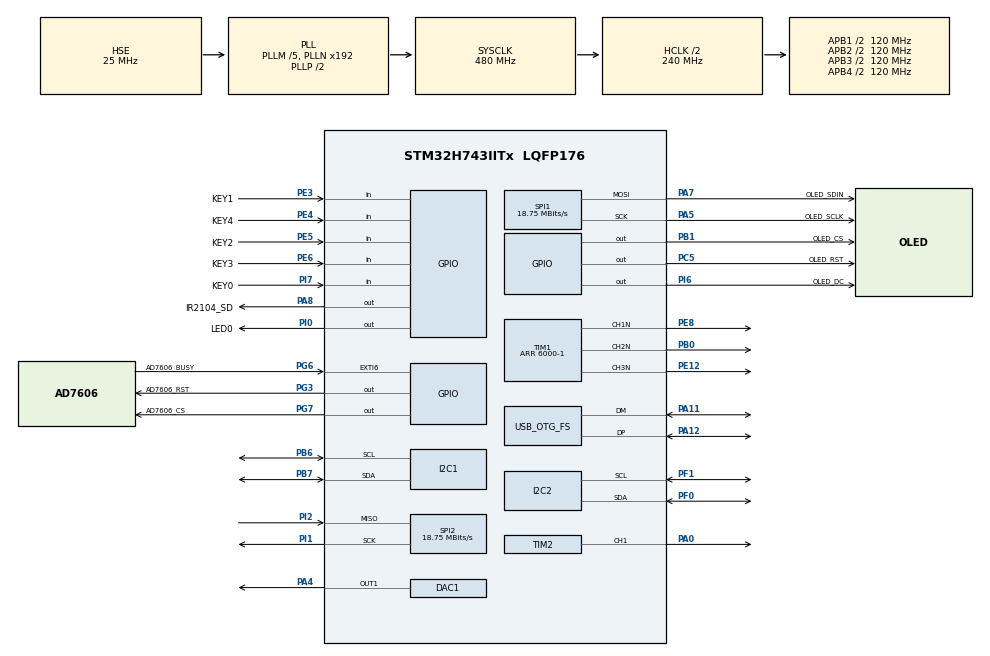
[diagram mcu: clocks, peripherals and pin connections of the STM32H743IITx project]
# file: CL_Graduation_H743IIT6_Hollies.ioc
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ADC3.Channel-0\#ChannelRegularConversion=ADC_CHANNEL_TEMPSENSOR
ADC3.ClockPrescalerADC3=ADC_CLOCK_ASYNC_DIV4
ADC3.NbrOfConversion=1
ADC3.NbrOfConversionFlag=1
ADC3.OffsetNumber-0\#ChannelRegularConversion=ADC_OFFSET_NONE
ADC3.OffsetSignedSaturation-0\#ChannelRegularConversion=DISABLE
ADC3.Overrun=ADC_OVR_DATA_OVERWRITTEN
ADC3.OversamplingMode=ENABLE
ADC3.Rank-0\#ChannelRegularConversion=1
ADC3.Ratio=16
ADC3.RightBitShift=ADC_RIGHTBITSHIFT_4
ADC3.SamplingTime-0\#ChannelRegularConversion=ADC_SAMPLETIME_810CYCLES_5
CORTEX_M7.AccessPermission_Spec=MPU_REGION_FULL_ACCESS
CORTEX_M7.BaseAddress_Spec=0x24000000
CORTEX_M7.CPU_DCache=Enabled
CORTEX_M7.CPU_ICache=Enabled
CORTEX_M7.DisableExec_Spec=MPU_INSTRUCTION_ACCESS_ENABLE
CORTEX_M7.IsBufferable_Spec=MPU_ACCESS_BUFFERABLE
CORTEX_M7.IsCacheable_Spec=MPU_ACCESS_CACHEABLE
CORTEX_M7.IsShareable_Spec=MPU_ACCESS_NOT_SHAREABLE
CORTEX_M7.Size_Spec=MPU_REGION_SIZE_512KB
CORTEX_M7.SubRegionDisable_Spec=0x0
CORTEX_M7.TypeExtField_Spec=MPU_TEX_LEVEL1
CORTEX_M7.default_mode_Activation=1
DAC1.DAC_Channel-DAC_OUT1=DAC_CHANNEL_1
FREERTOS.Tasks01=defaultTask,24,128,StartDefaultTask,As weak,NULL,Dynamic,NULL,NULL;letterShellTask,23,1024,shellTask,As weak,&shell,Dynamic,NULL,NULL;chipTemperature,24,512,StartChipTemperatureTask,As weak,NULL,Dynamic,NULL,NULL;oledDisplayTask,24,512,StartOledDisplayTask,As weak,NULL,Dynamic,NULL,NULL;keyTask,24,256,StartKeyTask,As weak,NULL,Dynamic,NULL,NULL;dcSampingTask,40,256,StartDCSampingTask,As weak,NULL,Dynamic,NULL,NULL
I2C1.Timing=0x307075B1
I2C2.Timing=0x307075B1
Mcu.Family=STM32H7
Mcu.Name=STM32H743IITx
Mcu.Package=LQFP176
NVIC.EXTI9_5_IRQn=true\:4\:0\:true\:false\:true\:false\:true\:true\:true
NVIC.OTG_FS_IRQn=true\:5\:0\:false\:false\:true\:true\:false\:true\:true
NVIC.PriorityGroup=NVIC_PRIORITYGROUP_4
NVIC.TIM6_DAC_IRQn=true\:5\:0\:false\:false\:true\:false\:false\:true\:true
NVIC.TimeBase=TIM6_DAC_IRQn
NVIC.TimeBaseIP=TIM6
PA0.Signal=S_TIM2_CH1_ETR
PA11.Mode=Device_Only
PA11.Signal=USB_OTG_FS_DM
PA12.Mode=Device_Only
PA12.Signal=USB_OTG_FS_DP
PA13\ (JTMS/SWDIO).Mode=Serial_Wire
PA13\ (JTMS/SWDIO).Signal=DEBUG_JTMS-SWDIO
PA14\ (JTCK/SWCLK).Mode=Serial_Wire
PA14\ (JTCK/SWCLK).Signal=DEBUG_JTCK-SWCLK
PA4.Signal=COMP_DAC11_group
PA5.GPIO_Label=OLED_SCLK
PA5.GPIO_PuPd=GPIO_PULLUP
PA5.GPIO_Speed=GPIO_SPEED_FREQ_MEDIUM
PA5.Mode=TX_Only_Simplex_Unidirect_Master
PA5.Signal=SPI1_SCK
PA7.GPIO_Label=OLED_SDIN
PA7.GPIO_PuPd=GPIO_PULLUP
PA7.GPIO_Speed=GPIO_SPEED_FREQ_MEDIUM
PA7.Mode=TX_Only_Simplex_Unidirect_Master
PA7.Signal=SPI1_MOSI
PA8.GPIO_Label=IR2104_SD
PA8.GPIO_PuPd=GPIO_PULLDOWN
PA8.GPIO_Speed=GPIO_SPEED_FREQ_LOW
PA8.PinState=GPIO_PIN_RESET
PA8.Signal=GPIO_Output
PB0.Mode=PWM Generation2 CH2N
PB0.Signal=TIM1_CH2N
PB1.GPIO_Label=OLED_CS
PB1.GPIO_PuPd=GPIO_PULLUP
PB1.GPIO_Speed=GPIO_SPEED_FREQ_LOW
PB1.Signal=GPIO_Output
PB6.Mode=I2C
PB6.Signal=I2C1_SCL
PB7.Mode=I2C
PB7.Signal=I2C1_SDA
PC14-OSC32_IN\ (OSC32_IN).Mode=LSE-External-Oscillator
PC14-OSC32_IN\ (OSC32_IN).Signal=RCC_OSC32_IN
PC15-OSC32_OUT\ (OSC32_OUT).Mode=LSE-External-Oscillator
PC15-OSC32_OUT\ (OSC32_OUT).Signal=RCC_OSC32_OUT
PC5.GPIO_Label=OLED_RST
PC5.GPIO_PuPd=GPIO_PULLUP
PC5.GPIO_Speed=GPIO_SPEED_FREQ_LOW
PC5.Signal=GPIO_Output
PE12.Mode=PWM Generation3 CH3N
PE12.Signal=TIM1_CH3N
PE3.GPIO_Label=KEY1
PE3.GPIO_PuPd=GPIO_PULLUP
PE3.Signal=GPIO_Input
PE4.GPIO_Label=KEY4
PE4.GPIO_PuPd=GPIO_PULLUP
PE4.Signal=GPIO_Input
PE5.GPIO_Label=KEY2
PE5.GPIO_PuPd=GPIO_PULLUP
PE5.Signal=GPIO_Input
PE6.GPIO_Label=KEY3
PE6.GPIO_PuPd=GPIO_PULLUP
PE6.Signal=GPIO_Input
PE8.Mode=PWM Generation1 CH1N
PE8.Signal=TIM1_CH1N
PF0.Mode=I2C
PF0.Signal=I2C2_SDA
PF1.Mode=I2C
PF1.Signal=I2C2_SCL
PG3.GPIO_Label=AD7606_RST
PG3.GPIO_Speed=GPIO_SPEED_FREQ_LOW
PG3.Signal=GPIO_Output
PG6.GPIO_Label=AD7606_BUSY
PG6.GPIO_ModeDefaultEXTI=GPIO_MODE_IT_FALLING
PG6.GPIO_PuPd=GPIO_PULLUP
PG6.Signal=GPXTI6
PG7.GPIO_Label=AD7606_CS
PG7.Signal=GPIO_Output
PH0-OSC_IN\ (PH0).Mode=HSE-External-Oscillator
PH0-OSC_IN\ (PH0).Signal=RCC_OSC_IN
PH1-OSC_OUT\ (PH1).Mode=HSE-External-Oscillator
PH1-OSC_OUT\ (PH1).Signal=RCC_OSC_OUT
PI0.GPIO_Label=LED0
PI0.Signal=GPIO_Output
PI1.GPIO_Speed=GPIO_SPEED_FREQ_MEDIUM
PI1.Mode=RX_Only_Simplex_Unidirect_Master
PI1.Signal=SPI2_SCK
PI2.GPIO_Speed=GPIO_SPEED_FREQ_MEDIUM
PI2.Mode=RX_Only_Simplex_Unidirect_Master
PI2.Signal=SPI2_MISO
PI6.GPIO_Label=OLED_DC
PI6.GPIO_PuPd=GPIO_PULLUP
PI6.GPIO_Speed=GPIO_SPEED_FREQ_LOW
PI6.Signal=GPIO_Output
PI7.GPIO_Label=KEY0
PI7.GPIO_PuPd=GPIO_PULLUP
PI7.Signal=GPIO_Input
ProjectManager.HeapSize=0x2000
ProjectManager.StackSize=0x4000
ProjectManager.TargetToolchain=CMake
RCC.ADCFreq_Value=72000000
RCC.APB1Freq_Value=120000000
RCC.APB2Freq_Value=120000000
RCC.APB3Freq_Value=120000000
RCC.APB4Freq_Value=120000000
RCC.CortexFreq_Value=480000000
RCC.D1PPRE=RCC_APB3_DIV2
RCC.D2PPRE1=RCC_APB1_DIV2
RCC.D2PPRE2=RCC_APB2_DIV2
RCC.D3PPRE=RCC_APB4_DIV2
RCC.DIVM1=5
RCC.DIVM2=25
RCC.DIVM3=25
RCC.DIVN1=192
RCC.DIVN2=504
RCC.DIVN3=300
RCC.DIVP2=7
RCC.DIVQ1=20
RCC.HCLKFreq_Value=240000000
RCC.HPRE=RCC_HCLK_DIV2
RCC.PLLFRACN=0
RCC.PLLSourceVirtual=RCC_PLLSOURCE_HSE
RCC.SPI123CLockSelection=RCC_SPI123CLKSOURCE_PLL3
RCC.SYSCLKFreq_VALUE=480000000
RCC.SYSCLKSource=RCC_SYSCLKSOURCE_PLLCLK
RCC.USBFreq_Value=48000000
SH.COMP_DAC11_group.0=DAC1_OUT1,DAC_OUT1
SH.S_TIM2_CH1_ETR.0=TIM2_CH1,PWM Generation1 CH1
SPI1.BaudRatePrescaler=SPI_BAUDRATEPRESCALER_8
SPI1.CalculateBaudRate=18.75 MBits/s
SPI1.DataSize=SPI_DATASIZE_8BIT
SPI1.Direction=SPI_DIRECTION_2LINES_TXONLY
SPI1.Mode=SPI_MODE_MASTER
SPI1.VirtualType=VM_MASTER
SPI2.BaudRatePrescaler=SPI_BAUDRATEPRESCALER_8
SPI2.CLKPolarity=SPI_POLARITY_HIGH
SPI2.CalculateBaudRate=18.75 MBits/s
SPI2.DataSize=SPI_DATASIZE_16BIT
SPI2.Direction=SPI_DIRECTION_2LINES_RXONLY
SPI2.Mode=SPI_MODE_MASTER
SPI2.VirtualType=VM_MASTER
TIM1.Channel-PWM\ Generation1\ CH1N=TIM_CHANNEL_1
TIM1.Channel-PWM\ Generation2\ CH2N=TIM_CHANNEL_2
TIM1.Channel-PWM\ Generation3\ CH3N=TIM_CHANNEL_3
TIM1.CounterMode=TIM_COUNTERMODE_CENTERALIGNED1
TIM1.OCFastMode_PWM-PWM\ Generation1\ CH1N=TIM_OCFAST_ENABLE
TIM1.OCFastMode_PWM-PWM\ Generation2\ CH2N=TIM_OCFAST_ENABLE
TIM1.OCFastMode_PWM-PWM\ Generation3\ CH3N=TIM_OCFAST_ENABLE
TIM1.Period=6000-1
TIM1.Pulse-PWM\ Generation2\ CH2N=3000-1
TIM1.Pulse-PWM\ Generation3\ CH3N=3000-1
TIM2.Channel-PWM\ Generation1\ CH1=TIM_CHANNEL_1
TIM2.Period=12000-1
TIM2.Pulse-PWM\ Generation1\ CH1=9000-1
USB_DEVICE.CLASS_NAME_FS=CDC
USB_DEVICE.PRODUCT_STRING_CDC_FS=TianSHU A
USB_DEVICE.VirtualMode-CDC_FS=Cdc
USB_DEVICE.VirtualModeFS=Cdc_FS
USB_OTG_FS.VirtualMode=Device_Only
VP_ADC3_TempSens_Input.Mode=IN-TempSens
VP_FREERTOS_VS_CMSIS_V2.Mode=CMSIS_V2
VP_MEMORYMAP_VS_MEMORYMAP.Mode=CurAppReg
VP_SYS_VS_tim6.Mode=TIM6
VP_TIM1_VS_ClockSourceINT.Mode=Internal
VP_TIM2_VS_ClockSourceINT.Mode=Internal
VP_USB_DEVICE_VS_USB_DEVICE_CDC_FS.Mode=CDC_FS
VP_VREFBUF_V_VREFBUF.Mode=ExternalMode
board=custom

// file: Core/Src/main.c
/* USER CODE BEGIN Header */
/**
 ******************************************************************************
 * @file           : main.c
 * @brief          : Main program body
 ******************************************************************************
 * @attention
 *
 * Copyright (c) 2025 STMicroelectronics.
 * All rights reserved.
 *
 * This software is licensed under terms that can be found in the LICENSE file
 * in the root directory of this software component.
 * If no LICENSE file comes with this software, it is provided AS-IS.
 *
 ******************************************************************************
 */
/* USER CODE END Header */
#include "main.h"
#include "cmsis_os.h"
#include "adc.h"
#include "dac.h"
#include "i2c.h"
#include "memorymap.h"
#include "spi.h"
#include "tim.h"
#include "usb_device.h"
#include "gpio.h"

void SystemClock_Config(void);
void PeriphCommonClock_Config(void);
static void MPU_Config(void);
void MX_FREERTOS_Init(void);

int main(void)
{

  /* MPU Configuration--------------------------------------------------------*/
  MPU_Config();

  /* Enable the CPU Cache */

  /* Enable I-Cache---------------------------------------------------------*/
  SCB_EnableICache();

  /* Enable D-Cache---------------------------------------------------------*/
  SCB_EnableDCache();

  /* MCU Configuration--------------------------------------------------------*/

  /* Reset of all peripherals, Initializes the Flash interface and the Systick. */
  HAL_Init();

  /* Configure the system clock */
  SystemClock_Config();

  /* Configure the peripherals common clocks */
  PeriphCommonClock_Config();

  /* Initialize all configured peripherals */
  MX_GPIO_Init();
  MX_ADC3_Init();
  MX_SPI1_Init();
  MX_DAC1_Init();
  MX_I2C1_Init();
  MX_SPI2_Init();
  MX_TIM1_Init();
  MX_TIM2_Init();
  MX_I2C2_Init();

  /* Init scheduler */
  osKernelInitialize();

  /* Call init function for freertos objects (in cmsis_os2.c) */
  MX_FREERTOS_Init();

  /* Start scheduler */
  osKernelStart();

  /* We should never get here as control is now taken by the scheduler */

  /* Infinite loop */
  while (1)
  {

  }
}

void SystemClock_Config(void)
{
  RCC_OscInitTypeDef RCC_OscInitStruct = {0};
  RCC_ClkInitTypeDef RCC_ClkInitStruct = {0};

  /** Supply configuration update enable
  */
  HAL_PWREx_ConfigSupply(PWR_LDO_SUPPLY);

  /** Configure the main internal regulator output voltage
  */
  __HAL_PWR_VOLTAGESCALING_CONFIG(PWR_REGULATOR_VOLTAGE_SCALE0);

  while(!__HAL_PWR_GET_FLAG(PWR_FLAG_VOSRDY)) {}

  /** Initializes the RCC Oscillators according to the specified parameters
  * in the RCC_OscInitTypeDef structure.
  */
  RCC_OscInitStruct.OscillatorType = RCC_OSCILLATORTYPE_HSE;
  RCC_OscInitStruct.HSEState = RCC_HSE_ON;
  RCC_OscInitStruct.PLL.PLLState = RCC_PLL_ON;
  RCC_OscInitStruct.PLL.PLLSource = RCC_PLLSOURCE_HSE;
  RCC_OscInitStruct.PLL.PLLM = 5;
  RCC_OscInitStruct.PLL.PLLN = 192;
  RCC_OscInitStruct.PLL.PLLP = 2;
  RCC_OscInitStruct.PLL.PLLQ = 20;
  RCC_OscInitStruct.PLL.PLLR = 2;
  RCC_OscInitStruct.PLL.PLLRGE = RCC_PLL1VCIRANGE_2;
  RCC_OscInitStruct.PLL.PLLVCOSEL = RCC_PLL1VCOWIDE;
  RCC_OscInitStruct.PLL.PLLFRACN = 0;
  if (HAL_RCC_OscConfig(&RCC_OscInitStruct) != HAL_OK)
  {
    Error_Handler();
  }

  /** Initializes the CPU, AHB and APB buses clocks
  */
  RCC_ClkInitStruct.ClockType = RCC_CLOCKTYPE_HCLK|RCC_CLOCKTYPE_SYSCLK
                              |RCC_CLOCKTYPE_PCLK1|RCC_CLOCKTYPE_PCLK2
                              |RCC_CLOCKTYPE_D3PCLK1|RCC_CLOCKTYPE_D1PCLK1;
  RCC_ClkInitStruct.SYSCLKSource = RCC_SYSCLKSOURCE_PLLCLK;
  RCC_ClkInitStruct.SYSCLKDivider = RCC_SYSCLK_DIV1;
  RCC_ClkInitStruct.AHBCLKDivider = RCC_HCLK_DIV2;
  RCC_ClkInitStruct.APB3CLKDivider = RCC_APB3_DIV2;
  RCC_ClkInitStruct.APB1CLKDivider = RCC_APB1_DIV2;
  RCC_ClkInitStruct.APB2CLKDivider = RCC_APB2_DIV2;
  RCC_ClkInitStruct.APB4CLKDivider = RCC_APB4_DIV2;

  if (HAL_RCC_ClockConfig(&RCC_ClkInitStruct, FLASH_LATENCY_4) != HAL_OK)
  {
    Error_Handler();
  }
}

void PeriphCommonClock_Config(void)
{
  RCC_PeriphCLKInitTypeDef PeriphClkInitStruct = {0};

  /** Initializes the peripherals clock
  */
  PeriphClkInitStruct.PeriphClockSelection = RCC_PERIPHCLK_SPI2|RCC_PERIPHCLK_SPI1;
  PeriphClkInitStruct.PLL3.PLL3M = 25;
  PeriphClkInitStruct.PLL3.PLL3N = 300;
  PeriphClkInitStruct.PLL3.PLL3P = 2;
  PeriphClkInitStruct.PLL3.PLL3Q = 2;
  PeriphClkInitStruct.PLL3.PLL3R = 2;
  PeriphClkInitStruct.PLL3.PLL3RGE = RCC_PLL3VCIRANGE_0;
  PeriphClkInitStruct.PLL3.PLL3VCOSEL = RCC_PLL3VCOWIDE;
  PeriphClkInitStruct.PLL3.PLL3FRACN = 0;
  PeriphClkInitStruct.Spi123ClockSelection = RCC_SPI123CLKSOURCE_PLL3;
  if (HAL_RCCEx_PeriphCLKConfig(&PeriphClkInitStruct) != HAL_OK)
  {
    Error_Handler();
  }
}

 /* MPU Configuration */

void MPU_Config(void)
{
  MPU_Region_InitTypeDef MPU_InitStruct = {0};

  /* Disables the MPU */
  HAL_MPU_Disable();

  /** Initializes and configures the Region and the memory to be protected
  */
  MPU_InitStruct.Enable = MPU_REGION_ENABLE;
  MPU_InitStruct.Number = MPU_REGION_NUMBER0;
  MPU_InitStruct.BaseAddress = 0x24000000;
  MPU_InitStruct.Size = MPU_REGION_SIZE_512KB;
  MPU_InitStruct.SubRegionDisable = 0x0;
  MPU_InitStruct.TypeExtField = MPU_TEX_LEVEL1;
  MPU_InitStruct.AccessPermission = MPU_REGION_FULL_ACCESS;
  MPU_InitStruct.DisableExec = MPU_INSTRUCTION_ACCESS_ENABLE;
  MPU_InitStruct.IsShareable = MPU_ACCESS_NOT_SHAREABLE;
  MPU_InitStruct.IsCacheable = MPU_ACCESS_CACHEABLE;
  MPU_InitStruct.IsBufferable = MPU_ACCESS_BUFFERABLE;

  HAL_MPU_ConfigRegion(&MPU_InitStruct);
  /* Enables the MPU */
  HAL_MPU_Enable(MPU_PRIVILEGED_DEFAULT);

}

void HAL_TIM_PeriodElapsedCallback(TIM_HandleTypeDef *htim)
{
  if (htim->Instance == TIM6)
  {
    HAL_IncTick();
  }
}

void Error_Handler(void)
{
  __disable_irq();
  while (1)
  {
  }
}

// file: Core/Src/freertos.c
/* USER CODE BEGIN Header */
/**
 ******************************************************************************
 * File Name          : freertos.c
 * Description        : Code for freertos applications
 ******************************************************************************
 * @attention
 *
 * Copyright (c) 2025 STMicroelectronics.
 * All rights reserved.
 *
 * This software is licensed under terms that can be found in the LICENSE file
 * in the root directory of this software component.
 * If no LICENSE file comes with this software, it is provided AS-IS.
 *
 ******************************************************************************
 */
/* USER CODE END Header */

#include "FreeRTOS.h"
#include "task.h"
#include "main.h"
#include "cmsis_os.h"

/* USER CODE BEGIN Includes */
#include "user_task.h"
#include "shell.h"
#include "user_shell.h"
#include "ad7606.h"
#include "tim.h"
#include "three_phase_rectifier.h"
#include "user_global.h"
/* USER CODE END Includes */

/* Definitions for defaultTask */
osThreadId_t defaultTaskHandle;
const osThreadAttr_t defaultTask_attributes = {
  .name = "defaultTask",
  .stack_size = 128 * 4,
  .priority = (osPriority_t) osPriorityNormal,
};
/* Definitions for letterShellTask */
osThreadId_t letterShellTaskHandle;
const osThreadAttr_t letterShellTask_attributes = {
  .name = "letterShellTask",
  .stack_size = 1024 * 4,
  .priority = (osPriority_t) osPriorityBelowNormal7,
};
/* Definitions for chipTemperature */
osThreadId_t chipTemperatureHandle;
const osThreadAttr_t chipTemperature_attributes = {
  .name = "chipTemperature",
  .stack_size = 512 * 4,
  .priority = (osPriority_t) osPriorityNormal,
};
/* Definitions for oledDisplayTask */
osThreadId_t oledDisplayTaskHandle;
const osThreadAttr_t oledDisplayTask_attributes = {
  .name = "oledDisplayTask",
  .stack_size = 512 * 4,
  .priority = (osPriority_t) osPriorityNormal,
};
/* Definitions for keyTask */
osThreadId_t keyTaskHandle;
const osThreadAttr_t keyTask_attributes = {
  .name = "keyTask",
  .stack_size = 256 * 4,
  .priority = (osPriority_t) osPriorityNormal,
};
/* Definitions for dcSampingTask */
osThreadId_t dcSampingTaskHandle;
const osThreadAttr_t dcSampingTask_attributes = {
  .name = "dcSampingTask",
  .stack_size = 256 * 4,
  .priority = (osPriority_t) osPriorityHigh,
};

void StartDefaultTask(void *argument);
void shellTask(void *argument);
void StartChipTemperatureTask(void *argument);
void StartOledDisplayTask(void *argument);
void StartKeyTask(void *argument);
void StartDCSampingTask(void *argument);

extern void MX_USB_DEVICE_Init(void);
void MX_FREERTOS_Init(void); /* (MISRA C 2004 rule 8.1) */

void MX_FREERTOS_Init(void) {
  /* USER CODE BEGIN Init */
  ad7606_Init();
  MX_USB_DEVICE_Init();
  userShellInit();
  three_Phase_Init_V(&signal_V, 50, 20000);
  three_Phase_Init_I(&signal_I, 50, 20000);
  ad7606_Start(&htim2, TIM_CHANNEL_1);
  /* USER CODE END Init */

  /* Create the thread(s) */
  /* creation of defaultTask */
  defaultTaskHandle = osThreadNew(StartDefaultTask, NULL, &defaultTask_attributes);

  /* creation of letterShellTask */
  letterShellTaskHandle = osThreadNew(shellTask, (void*) &shell, &letterShellTask_attributes);

  /* creation of chipTemperature */
  chipTemperatureHandle = osThreadNew(StartChipTemperatureTask, NULL, &chipTemperature_attributes);

  /* creation of oledDisplayTask */
  oledDisplayTaskHandle = osThreadNew(StartOledDisplayTask, NULL, &oledDisplayTask_attributes);

  /* creation of keyTask */
  keyTaskHandle = osThreadNew(StartKeyTask, NULL, &keyTask_attributes);

  /* creation of dcSampingTask */
  dcSampingTaskHandle = osThreadNew(StartDCSampingTask, NULL, &dcSampingTask_attributes);

}

__weak void StartDefaultTask(void *argument)
{
  /* init code for USB_DEVICE */
  MX_USB_DEVICE_Init();
  /* USER CODE BEGIN StartDefaultTask */
  UNUSED(argument);
  /* Infinite loop */
  for (;;)
  {
    osDelay(1);
  }
  /* USER CODE END StartDefaultTask */
}

__weak void shellTask(void *argument)
{
  /* USER CODE BEGIN shellTask */
  UNUSED(argument);
  /* Infinite loop */
  for (;;)
  {
    osDelay(1);
  }
  /* USER CODE END shellTask */
}

__weak void StartChipTemperatureTask(void *argument)
{
  /* USER CODE BEGIN StartChipTemperatureTask */
  UNUSED(argument);
  /* Infinite loop */
  for (;;)
  {
    osDelay(1);
  }
  /* USER CODE END StartChipTemperatureTask */
}

__weak void StartOledDisplayTask(void *argument)
{
  /* USER CODE BEGIN StartOledDisplayTask */
  UNUSED(argument);
  /* Infinite loop */
  for (;;)
  {
    osDelay(1);
  }
  /* USER CODE END StartOledDisplayTask */
}

__weak void StartKeyTask(void *argument)
{
  /* USER CODE BEGIN StartKeyTask */
  UNUSED(argument);
  /* Infinite loop */
  for (;;)
  {
    osDelay(1);
  }
  /* USER CODE END StartKeyTask */
}

__weak void StartDCSampingTask(void *argument)
{
  /* USER CODE BEGIN StartDCSampingTask */
  UNUSED(argument);
  /* Infinite loop */
  for (;;)
  {
    osDelay(1);
  }
  /* USER CODE END StartDCSampingTask */
}
